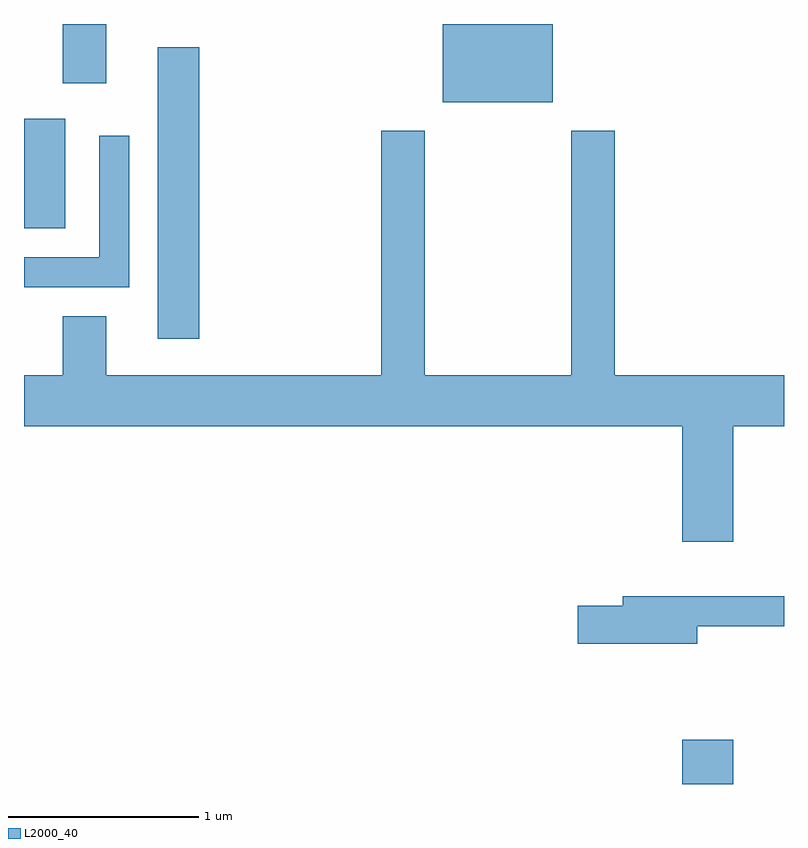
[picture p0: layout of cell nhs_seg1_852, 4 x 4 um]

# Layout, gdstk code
import gdstk
lib = gdstk.Library(unit=1e-6, precision=1e-09)
def R(c, l, rs):  # rectangles x0, y0, x1, y1
    for r in rs: c.add(gdstk.rectangle(r[:2], r[2:], *l))
def P(c, l, *ps):  # polygons
    for p in ps: c.add(gdstk.Polygon(p, *l))
L2000_40 = (2000, 40)

nhs_seg1_852 = lib.new_cell('nhs_seg1_852')
R(nhs_seg1_852, L2000_40, [(215.076,877.712,215.344,877.944), (212.316,880.056,212.534,881.589), (211.611,880.636,211.829,881.214), (213.816,881.301,214.394,881.712), (211.816,881.401,212.044,881.712)])
P(nhs_seg1_852, L2000_40, [(215.344,879.596),(215.611,879.596),(215.611,879.864),(214.719,879.864),(214.719,881.149),(214.491,881.149),(214.491,879.864),(213.719,879.864),(213.719,881.149),(213.491,881.149),(213.491,879.864),(212.044,879.864),(212.044,880.174),(211.816,880.174),(211.816,879.864),(211.611,879.864),(211.611,879.596),(215.076,879.596),(215.076,878.986),(215.344,878.986)],
  [(212.164,881.123),(212.006,881.123),(212.006,880.484),(211.611,880.484),(211.611,880.326),(212.164,880.326)],
  [(215.154,878.541),(215.611,878.541),(215.611,878.699),(214.761,878.699),(214.761,878.649),(214.526,878.649),(214.526,878.451),(215.154,878.451)])

lib.write_gds('nhs_seg1_852.gds')
